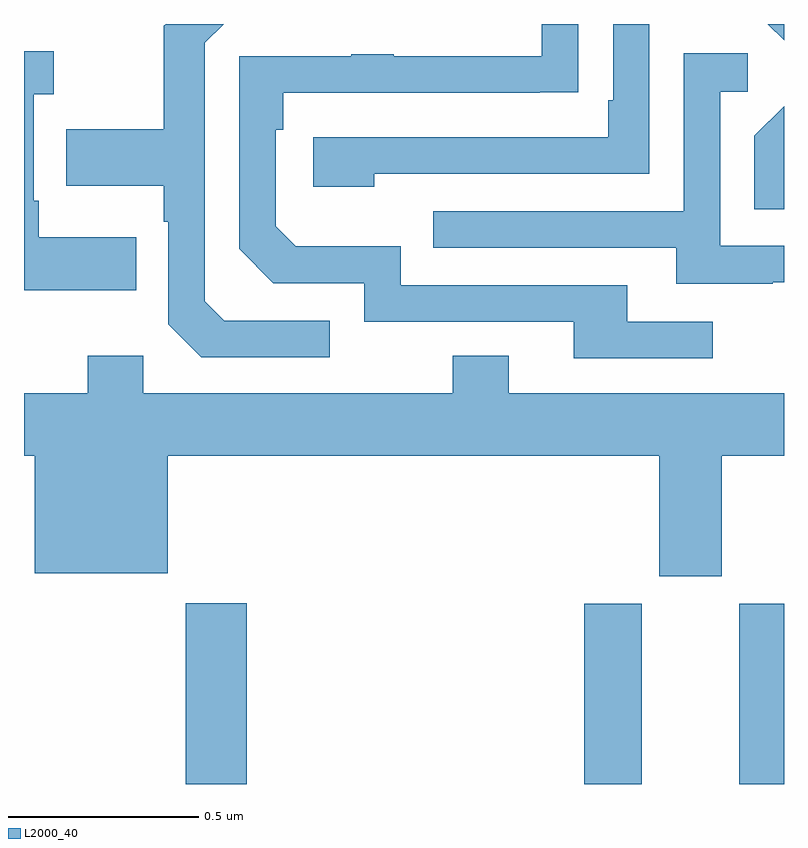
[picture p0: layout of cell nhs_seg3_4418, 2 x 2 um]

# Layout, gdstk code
import gdstk
lib = gdstk.Library(unit=1e-6, precision=1e-09)
def R(c, l, rs):  # rectangles x0, y0, x1, y1
    for r in rs: c.add(gdstk.rectangle(r[:2], r[2:], *l))
def P(c, l, *ps):  # polygons
    for p in ps: c.add(gdstk.Polygon(p, *l))
L2000_40 = (2000, 40)

nhs_seg3_4418 = lib.new_cell('nhs_seg3_4418')
R(nhs_seg3_4418, L2000_40, [(166.426,685.4,166.586,685.876), (167.474,685.4,167.626,685.875), (167.882,685.4,168,685.875)])
P(nhs_seg3_4418, L2000_40, [(166.922,687.006),(167.646,687.006),(167.646,687.4),(167.55,687.4),(167.55,687.199),(167.537,687.199),(167.537,687.102),(166.761,687.102),(166.761,686.972),(166.922,686.972)],
  [(168,687.4),(167.957,687.4),(168,687.357)],
  [(166.804,686.619),(166.527,686.619),(166.476,686.67),(166.476,687.351),(166.525,687.4),(166.373,687.4),(166.368,687.395),(166.368,687.123),(166.111,687.123),(166.111,686.975),(166.368,686.975),(166.368,686.879),(166.38,686.879),(166.38,686.61),(166.467,686.523),(166.804,686.523)],
  [(167.812,686.616),(167.587,686.616),(167.587,686.712),(166.992,686.712),(166.992,686.815),(166.715,686.815),(166.662,686.868),(166.662,687.122),(166.682,687.122),(166.682,687.219),(167.357,687.219),(167.357,687.22),(167.459,687.22),(167.459,687.4),(167.363,687.4),(167.363,687.315),(166.973,687.315),(166.973,687.32),(166.861,687.32),(166.861,687.315),(166.566,687.315),(166.566,686.808),(166.656,686.718),(166.896,686.718),(166.896,686.616),(167.447,686.616),(167.447,686.52),(167.812,686.52)],
  [(166.295,686.839),(166.039,686.839),(166.039,686.935),(166.026,686.935),(166.026,687.215),(166.078,687.215),(166.078,687.328),(166,687.328),(166,686.699),(166.295,686.699)],
  [(167.971,686.721),(168,686.721),(168,686.817),(167.832,686.817),(167.832,687.222),(167.905,687.222),(167.905,687.323),(167.736,687.323),(167.736,686.907),(167.077,686.907),(167.077,686.811),(167.717,686.811),(167.717,686.717),(167.971,686.717)],
  [(168,687.184),(167.922,687.106),(167.922,686.913),(168,686.913)],
  [(167.836,686.264),(168,686.264),(168,686.428),(167.275,686.428),(167.275,686.527),(167.128,686.527),(167.128,686.428),(166.314,686.428),(166.314,686.527),(166.168,686.527),(166.168,686.428),(166,686.428),(166,686.264),(166.028,686.264),(166.028,685.955),(166.378,685.955),(166.378,686.264),(167.672,686.264),(167.672,685.947),(167.836,685.947)])

lib.write_gds('nhs_seg3_4418.gds')
